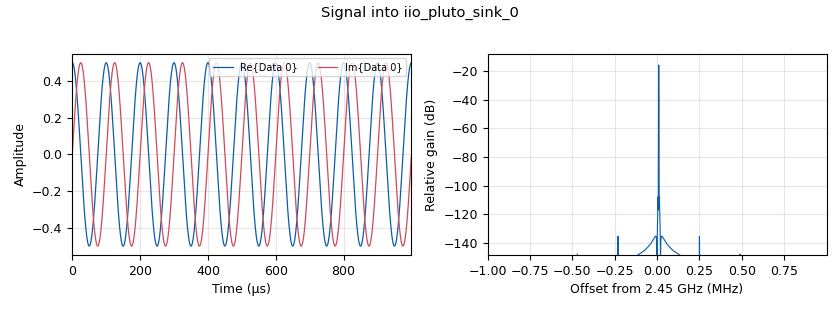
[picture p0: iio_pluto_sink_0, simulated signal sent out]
options:
  parameters:
    generate_options: qt_gui
    id: untitled1
    output_language: python
    title: Not titled yet
  states: {}

blocks:
- name: freq
  id: variable
  parameters:
    value: '2450000000'
  states: {}
- name: samp_rate
  id: variable
  parameters:
    value: '2000000'
  states: {}
- name: analog_sig_source_x_0
  id: analog_sig_source_x
  parameters:
    amp: '0.5'
    freq: '10000'
    offset: '0'
    phase: '0'
    samp_rate: samp_rate
    type: complex
    waveform: analog.GR_COS_WAVE
  states: {}
- name: iio_pluto_sink_0
  id: iio_pluto_sink
  parameters:
    attenuation1: '20.0'
    bandwidth: '20000000'
    buffer_size: '32768'
    cyclic: 'False'
    filter_source: '''Auto'''
    frequency: freq
    samplerate: samp_rate
    type: fc32
    uri: ip:192.168.2.1
  states: {}
- name: iio_pluto_source_0
  id: iio_pluto_source
  parameters:
    bandwidth: '20000000'
    bbdc: 'True'
    buffer_size: '32768'
    filter_source: '''Auto'''
    frequency: freq
    gain1: '''manual'''
    manual_gain1: '30'
    quadrature: 'True'
    rfdc: 'True'
    samplerate: samp_rate
    type: fc32
    uri: ip:192.168.2.1
  states: {}
- name: qtgui_freq_sink_x_0
  id: qtgui_freq_sink_x
  parameters:
    bw: samp_rate
    fc: freq
    fftsize: '2048'
    type: complex
  states: {}

connections:
- [analog_sig_source_x_0, '0', iio_pluto_sink_0, '0']
- [iio_pluto_source_0, '0', qtgui_freq_sink_x_0, '0']

metadata:
  file_format: 1
  grc_version: 3.10.12.0
